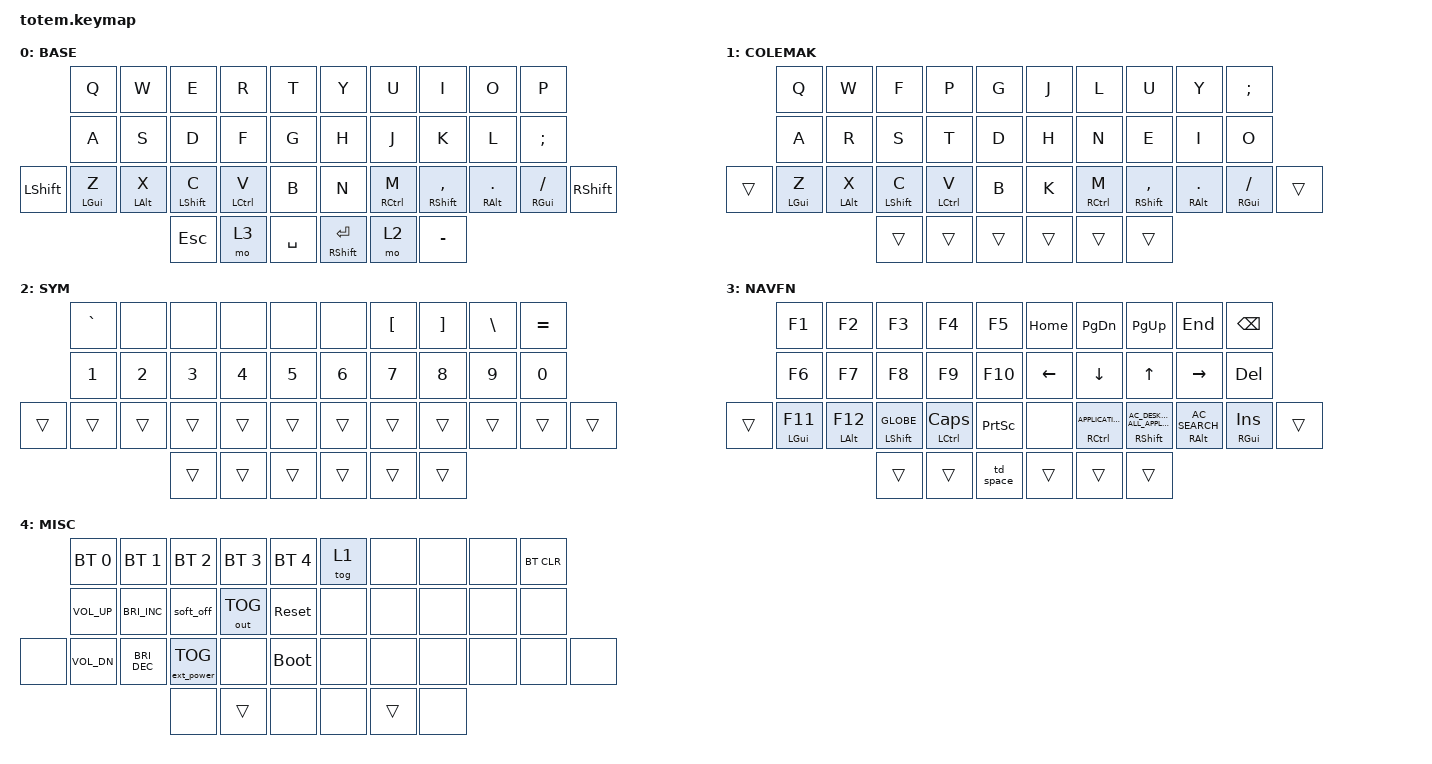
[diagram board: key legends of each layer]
//                                                        ▀▀▀▀▀     ▀▀▀▀▀          ▀▀█▀▀
//                                                        ▄▀▀▀▄  ▄  ▄▀▀▀▄  ▄  ▄▀▀▀▄  █  ▄▀▀▀▄
//                                                        █   █  █  █   █  █  █   █  █  █   █
//                                                         ▀▀▀   █   ▀▀▀   █   ▀▀▀   ▀   ▀▀▀
//                                                               █      ▄▄▄█▄▄▄    █   █
//                                                               ▀      █  █  █     █▄█
//                                                             ▀▀▀▀▀    █  █  █      ▀
//                                                                      ▀  ▀  ▀
//
// ▄▄▄▄▄▄▄▄▄▄▄▄▄▄▄▄▄▄▄▄▄▄▄▄▄▄▄▄▄▄▄▄▄▄▄▄▄▄▄▄▄▄▄▄▄▄▄▄▄▄▄▄▄▄▄▄▄▄▄▄▄▄▄▄▄▄▄▄▄▄▄▄▄▄▄▄▄▄▄▄▄▄▄▄▄▄▄▄▄▄▄▄▄▄▄▄▄▄▄▄▄▄▄▄▄▄▄▄▄▄▄▄▄▄▄▄▄▄▄▄▄▄▄▄▄▄▄▄▄▄▄▄▄▄▄▄▄▄▄▄▄▄▄▄▄▄▄▄▄

#include <behaviors.dtsi>
#include <dt-bindings/zmk/bt.h>
#include <dt-bindings/zmk/ext_power.h>
#include <dt-bindings/zmk/keys.h>
#include <dt-bindings/zmk/outputs.h>

#define BASE 0
#define NAV  1
#define SYM  2
#define ADJ  3
#define TVP1 4
#define TVP2 5

// ============================================
// Home Row Mods - Cross-hand positional hold-tap
// ============================================

#define KEYS_L 0 1 2 3 4 10 11 12 13 14 20 21 22 23 24 25  // Left-hand keys
#define KEYS_R 5 6 7 8 9 15 16 17 18 19 26 27 28 29 30 31  // Right-hand keys
#define THUMBS 32 33 34 35 36 37                            // Thumb keys

&mt {
    flavor = "balanced";
    tapping-term-ms = <200>;
};

/ {
    behaviors {
        hml: home_row_mod_left {
            compatible = "zmk,behavior-hold-tap";
            #binding-cells = <2>;
            flavor = "balanced";
            tapping-term-ms = <200>;
            quick-tap-ms = <175>;
            require-prior-idle-ms = <150>;
            bindings = <&kp>, <&kp>;

            hold-trigger-key-positions = <KEYS_R THUMBS>;
            hold-trigger-on-release;
        };

        hmr: home_row_mod_right {
            compatible = "zmk,behavior-hold-tap";
            #binding-cells = <2>;
            flavor = "balanced";
            tapping-term-ms = <200>;
            quick-tap-ms = <175>;
            require-prior-idle-ms = <150>;
            bindings = <&kp>, <&kp>;

            hold-trigger-key-positions = <KEYS_L THUMBS>;
            hold-trigger-on-release;
        };
    };

    combos {
        compatible = "zmk,combos";

        tab {
            timeout-ms = <30>;
            key-positions = <0 1>;
            bindings = <&mt LA(LC(LGUI)) TAB>;
            layers = <0 1 2 3>;
        };

        backspace {
            bindings = <&kp BACKSPACE>;
            key-positions = <8 9>;
            timeout-ms = <30>;
            layers = <0 1>;
        };

        quote {
            bindings = <&kp SINGLE_QUOTE>;
            key-positions = <18 19>;
            timeout-ms = <30>;
            layers = <0 1>;
        };

        esc {
            bindings = <&kp ESCAPE>;
            key-positions = <10 11>;
            timeout-ms = <30>;
            layers = <0 1>;
        };
    };

    behaviors {
        td_space: td_space {
            compatible = "zmk,behavior-tap-dance";
            label = "TD_SPACE";
            #binding-cells = <0>;
            bindings = <&mt LGUI SPACE>, <&kp SPACE>;

            tapping-term-ms = <100>;
        };
    };

    keymap {
        compatible = "zmk,keymap";

        // ▄▄▄▄▄▄▄▄▄▄▄▄▄▄▄▄▄▄▄▄▄▄▄▄▄▄▄▄▄▄▄▄▄▄▄▄▄▄▄▄▄▄▄▄▄▄▄▄▄▄▄▄▄▄▄▄▄▄▄▄▄▄▄▄▄▄▄▄▄▄▄▄▄▄▄▄▄▄▄▄▄▄▄▄▄▄▄▄▄▄▄▄▄▄▄▄▄▄▄▄▄▄▄▄▄▄▄▄▄▄▄▄▄▄▄▄▄▄▄▄▄▄▄▄▄▄▄▄▄▄▄▄▄▄▄▄▄▄▄▄▄▄▄▄▄▄▄▄▄

        base_layer {
            // ┏━━━━━━━━━━━━━━━━━━━━━━━━━━━━━━━━━━━━━━━┓

            label = "BASE";

            // ┗━━━━━━━━━━━━━━━━━━━━━━━━━━━━━━━━━━━━━━━┛
            //             ┏━━━━━━━━━━━┳━━━━━━━━━━━┳━━━━━━━━━━━┳━━━━━━━━━━━┳━━━━━━━━━━━┓   ┏━━━━━━━━━━━┳━━━━━━━━━━━┳━━━━━━━━━━━┳━━━━━━━━━━━┳━━━━━━━━━━━┓
            //             ┃     Q     ┃     W     ┃     E     ┃     R     ┃     T     ┃   ┃     Y     ┃     U     ┃     I     ┃     O     ┃     P     ┃
            //             ┣━━━━━━━━━━━╋━━━━━━━━━━━╋━━━━━━━━━━━╋━━━━━━━━━━━╋━━━━━━━━━━━┫   ┣━━━━━━━━━━━╋━━━━━━━━━━━╋━━━━━━━━━━━╋━━━━━━━━━━━╋━━━━━━━━━━━┫
            //             ┃     A     ┃     S     ┃     D     ┃     F     ┃     G     ┃   ┃     H     ┃     J     ┃     K     ┃     L     ┃     ;     ┃
            // ┏━━━━━━━━━━━╋━━━━━━━━━━━╋━━━━━━━━━━━╋━━━━━━━━━━━╋━━━━━━━━━━━╋━━━━━━━━━━━┫   ┣━━━━━━━━━━━╋━━━━━━━━━━━╋━━━━━━━━━━━╋━━━━━━━━━━━╋━━━━━━━━━━━╋━━━━━━━━━━━┓
            // ┃    SFT    ┃   Z/GUI   ┃   X/ALT   ┃   C/SFT   ┃   V/CTL   ┃     B     ┃   ┃     N     ┃   M/CTL   ┃   ,/SFT   ┃   ./ALT   ┃  SLH/GUI  ┃   =/SFT   ┃
            // ┗━━━━━━━━━━━┻━━━━━━━━━━━┻━━━━━━━━━━━╋━━━━━━━━━━━╋━━━━━━━━━━━╋━━━━━━━━━━━┫   ┣━━━━━━━━━━━╋━━━━━━━━━━━╋━━━━━━━━━━━╋━━━━━━━━━━━┻━━━━━━━━━━━┻━━━━━━━━━━━┛
            //                                     ┃    ESC    ┃   MO(3)   ┃   SPACE   ┃   ┃ ENTER/SFT ┃   MO(2)   ┃     -     ┃
            //                                     ┗━━━━━━━━━━━┻━━━━━━━━━━━┻━━━━━━━━━━━┛   ┗━━━━━━━━━━━┻━━━━━━━━━━━┻━━━━━━━━━━━┛

            bindings = <
                &kp Q        &kp W        &kp E          &kp R         &kp T        &kp Y             &kp U         &kp I              &kp O          &kp P
                &kp A        &kp S        &kp D          &kp F         &kp G        &kp H             &kp J         &kp K              &kp L          &kp SEMICOLON
&kp LEFT_SHIFT  &hml LGUI Z  &hml LALT X  &hml LSHIFT C  &hml LCTRL V  &kp B        &kp N             &hmr RCTRL M  &hmr RSHIFT COMMA  &hmr RALT DOT  &hmr RGUI SLASH  &kp RSHIFT
                                          &kp ESCAPE     &mo 3         &kp SPACE    &mt RSHIFT ENTER  &mo 2         &kp MINUS
            >;
        };

        // ▄▄▄▄▄▄▄▄▄▄▄▄▄▄▄▄▄▄▄▄▄▄▄▄▄▄▄▄▄▄▄▄▄▄▄▄▄▄▄▄▄▄▄▄▄▄▄▄▄▄▄▄▄▄▄▄▄▄▄▄▄▄▄▄▄▄▄▄▄▄▄▄▄▄▄▄▄▄▄▄▄▄▄▄▄▄▄▄▄▄▄▄▄▄▄▄▄▄▄▄▄▄▄▄▄▄▄▄▄▄▄▄▄▄▄▄▄▄▄▄▄▄▄▄▄▄▄▄▄▄▄▄▄▄▄▄▄▄▄▄▄▄▄▄▄▄▄▄▄

        Colemak {
            // ┏━━━━━━━━━━━━━━━━━━━━━━━━━━━━━━━━━━━━━━━┓

            label = "COLEMAK";

            // ┗━━━━━━━━━━━━━━━━━━━━━━━━━━━━━━━━━━━━━━━┛
            //             ┏━━━━━━━━━━━┳━━━━━━━━━━━┳━━━━━━━━━━━┳━━━━━━━━━━━┳━━━━━━━━━━━┓   ┏━━━━━━━━━━━┳━━━━━━━━━━━┳━━━━━━━━━━━┳━━━━━━━━━━━┳━━━━━━━━━━━┓
            //             ┃     Q     ┃     W     ┃     F     ┃     P     ┃     G     ┃   ┃     J     ┃     L     ┃     U     ┃     Y     ┃     ;     ┃
            //             ┣━━━━━━━━━━━╋━━━━━━━━━━━╋━━━━━━━━━━━╋━━━━━━━━━━━╋━━━━━━━━━━━┫   ┣━━━━━━━━━━━╋━━━━━━━━━━━╋━━━━━━━━━━━╋━━━━━━━━━━━╋━━━━━━━━━━━┫
            //             ┃     A     ┃     R     ┃     S     ┃     T     ┃     D     ┃   ┃     H     ┃     N     ┃     E     ┃     I     ┃     O     ┃
            // ┏━━━━━━━━━━━╋━━━━━━━━━━━╋━━━━━━━━━━━╋━━━━━━━━━━━╋━━━━━━━━━━━╋━━━━━━━━━━━┫   ┣━━━━━━━━━━━╋━━━━━━━━━━━╋━━━━━━━━━━━╋━━━━━━━━━━━╋━━━━━━━━━━━╋━━━━━━━━━━━┓
            // ┃           ┃   Z/GUI   ┃   X/ALT   ┃   C/SFT   ┃   V/CTL   ┃     B     ┃   ┃     K     ┃   M/CTL   ┃   ,/SFT   ┃   ./ALT   ┃  SLH/GUI  ┃           ┃
            // ┗━━━━━━━━━━━┻━━━━━━━━━━━┻━━━━━━━━━━━╋━━━━━━━━━━━╋━━━━━━━━━━━╋━━━━━━━━━━━┫   ┣━━━━━━━━━━━╋━━━━━━━━━━━╋━━━━━━━━━━━╋━━━━━━━━━━━┻━━━━━━━━━━━┻━━━━━━━━━━━┛
            //                                     ┃           ┃           ┃           ┃   ┃           ┃           ┃           ┃
            //                                     ┗━━━━━━━━━━━┻━━━━━━━━━━━┻━━━━━━━━━━━┛   ┗━━━━━━━━━━━┻━━━━━━━━━━━┻━━━━━━━━━━━┛

            bindings = <
        &kp Q        &kp W        &kp F          &kp P         &kp G     &kp J   &kp L         &kp U              &kp Y             &kp SEMICOLON
        &kp A        &kp R        &kp S          &kp T         &kp D     &kp H   &kp N         &kp E              &kp I             &kp O
&trans  &hml LGUI Z  &hml LALT X  &hml LSHIFT C  &hml LCTRL V  &kp B     &kp K   &hmr RCTRL M  &hmr RSHIFT COMMA  &hmr RALT PERIOD  &hmr RGUI SLASH  &trans
                                  &trans         &trans        &trans    &trans  &trans        &trans
            >;
        };

        // ▄▄▄▄▄▄▄▄▄▄▄▄▄▄▄▄▄▄▄▄▄▄▄▄▄▄▄▄▄▄▄▄▄▄▄▄▄▄▄▄▄▄▄▄▄▄▄▄▄▄▄▄▄▄▄▄▄▄▄▄▄▄▄▄▄▄▄▄▄▄▄▄▄▄▄▄▄▄▄▄▄▄▄▄▄▄▄▄▄▄▄▄▄▄▄▄▄▄▄▄▄▄▄▄▄▄▄▄▄▄▄▄▄▄▄▄▄▄▄▄▄▄▄▄▄▄▄▄▄▄▄▄▄▄▄▄▄▄▄▄▄▄▄▄▄▄▄▄▄

        sym_layer {
            // ┏━━━━━━━━━━━━━━━━━━━━━━━━━━━━━━━━━━━━━━━┓

            label = "SYM";

            // ┗━━━━━━━━━━━━━━━━━━━━━━━━━━━━━━━━━━━━━━━┛
            //             ┏━━━━━━━━━━━┳━━━━━━━━━━━┳━━━━━━━━━━━┳━━━━━━━━━━━┳━━━━━━━━━━━┓   ┏━━━━━━━━━━━┳━━━━━━━━━━━┳━━━━━━━━━━━┳━━━━━━━━━━━┳━━━━━━━━━━━┓
            //             ┃     !     ┃     @     ┃     #     ┃     $     ┃     %     ┃   ┃     ^     ┃     &     ┃     *     ┃     (     ┃     )     ┃
            //             ┣━━━━━━━━━━━╋━━━━━━━━━━━╋━━━━━━━━━━━╋━━━━━━━━━━━╋━━━━━━━━━━━┫   ┣━━━━━━━━━━━╋━━━━━━━━━━━╋━━━━━━━━━━━╋━━━━━━━━━━━╋━━━━━━━━━━━┫
            //             ┃     1     ┃     2     ┃     3     ┃     4     ┃     5     ┃   ┃     6     ┃     7     ┃     8     ┃     9     ┃     0     ┃
            // ┏━━━━━━━━━━━╋━━━━━━━━━━━╋━━━━━━━━━━━╋━━━━━━━━━━━╋━━━━━━━━━━━╋━━━━━━━━━━━┫   ┣━━━━━━━━━━━╋━━━━━━━━━━━╋━━━━━━━━━━━╋━━━━━━━━━━━╋━━━━━━━━━━━╋━━━━━━━━━━━┓
            // ┃           ┃   {/GUI   ┃   }/ALT   ┃   [/SFT   ┃   ]/CTL   ┃           ┃   ┃     "     ┃   '/CTL   ┃           ┃           ┃BACKSLH/GUI┃     `     ┃
            // ┗━━━━━━━━━━━┻━━━━━━━━━━━┻━━━━━━━━━━━╋━━━━━━━━━━━╋━━━━━━━━━━━╋━━━━━━━━━━━┫   ┣━━━━━━━━━━━╋━━━━━━━━━━━╋━━━━━━━━━━━╋━━━━━━━━━━━┻━━━━━━━━━━━┻━━━━━━━━━━━┛
            //                                     ┃    TAB    ┃           ┃           ┃   ┃           ┃           ┃           ┃
            //                                     ┗━━━━━━━━━━━┻━━━━━━━━━━━┻━━━━━━━━━━━┛   ┗━━━━━━━━━━━┻━━━━━━━━━━━┻━━━━━━━━━━━┛

            bindings = <
        &kp GRAVE     &none         &none         &none         &none     &none         &kp LEFT_BRACKET  &kp RIGHT_BRACKET  &kp BACKSLASH  &kp EQUAL
        &kp NUMBER_1  &kp NUMBER_2  &kp NUMBER_3  &kp NUMBER_4  &kp N5    &kp NUMBER_6  &kp N7            &kp N8             &kp N9         &kp N0
&trans  &trans        &trans        &trans        &trans        &trans    &trans        &trans            &trans             &trans         &trans     &trans
                                    &trans        &trans        &trans    &trans        &trans            &trans
            >;
        };

        // ▄▄▄▄▄▄▄▄▄▄▄▄▄▄▄▄▄▄▄▄▄▄▄▄▄▄▄▄▄▄▄▄▄▄▄▄▄▄▄▄▄▄▄▄▄▄▄▄▄▄▄▄▄▄▄▄▄▄▄▄▄▄▄▄▄▄▄▄▄▄▄▄▄▄▄▄▄▄▄▄▄▄▄▄▄▄▄▄▄▄▄▄▄▄▄▄▄▄▄▄▄▄▄▄▄▄▄▄▄▄▄▄▄▄▄▄▄▄▄▄▄▄▄▄▄▄▄▄▄▄▄▄▄▄▄▄▄▄▄▄▄▄▄▄▄▄▄▄▄

        navi_fn {
            // ┏━━━━━━━━━━━━━━━━━━━━━━━━━━━━━━━━━━━━━━━┓

            label = "NAVFN";

            // ┗━━━━━━━━━━━━━━━━━━━━━━━━━━━━━━━━━━━━━━━┛
            //             ┏━━━━━━━━━━━┳━━━━━━━━━━━┳━━━━━━━━━━━┳━━━━━━━━━━━┳━━━━━━━━━━━┓   ┏━━━━━━━━━━━┳━━━━━━━━━━━┳━━━━━━━━━━━┳━━━━━━━━━━━┳━━━━━━━━━━━┓
            //             ┃    F1     ┃    F2     ┃    F3     ┃    F4     ┃    F5     ┃   ┃   HOME    ┃  PAGE DN  ┃  PAGE UP  ┃    END    ┃   BSPC    ┃
            //             ┣━━━━━━━━━━━╋━━━━━━━━━━━╋━━━━━━━━━━━╋━━━━━━━━━━━╋━━━━━━━━━━━┫   ┣━━━━━━━━━━━╋━━━━━━━━━━━╋━━━━━━━━━━━╋━━━━━━━━━━━╋━━━━━━━━━━━┫
            //             ┃    F6     ┃    F7     ┃    F8     ┃    F9     ┃    F10    ┃   ┃   LEFT    ┃   DOWN    ┃    UP     ┃   RIGHT   ┃    DEL    ┃
            // ┏━━━━━━━━━━━╋━━━━━━━━━━━╋━━━━━━━━━━━╋━━━━━━━━━━━╋━━━━━━━━━━━╋━━━━━━━━━━━┫   ┣━━━━━━━━━━━╋━━━━━━━━━━━╋━━━━━━━━━━━╋━━━━━━━━━━━╋━━━━━━━━━━━╋━━━━━━━━━━━┓
            // ┃           ┃  F11/GUI  ┃  F12/ALT  ┃ GLOBE/SFT ┃ CAPS/CTL  ┃   PRTSC   ┃   ┃  TOG CLK  ┃ K_APP/CTL ┃SHOWALL/SFT┃ SEARCH/ALT┃  INS/GUI  ┃           ┃
            // ┗━━━━━━━━━━━┻━━━━━━━━━━━┻━━━━━━━━━━━╋━━━━━━━━━━━╋━━━━━━━━━━━╋━━━━━━━━━━━┫   ┣━━━━━━━━━━━╋━━━━━━━━━━━╋━━━━━━━━━━━╋━━━━━━━━━━━┻━━━━━━━━━━━┻━━━━━━━━━━━┛
            //                                     ┃           ┃           ┃ SPC/LGUI  ┃   ┃           ┃           ┃           ┃
            //                                     ┗━━━━━━━━━━━┻━━━━━━━━━━━┻━━━━━━━━━━━┛   ┗━━━━━━━━━━━┻━━━━━━━━━━━┻━━━━━━━━━━━┛

            bindings = <
        &kp F1         &kp F2         &kp F3             &kp F4               &kp F5             &kp HOME  &kp PAGE_DOWN             &kp PAGE_UP                                     &kp END                &kp BACKSPACE
        &kp F6         &kp F7         &kp F8             &kp F9               &kp F10            &kp LEFT  &kp DOWN                  &kp UP_ARROW                                    &kp RIGHT              &kp DELETE
&trans  &hml LGUI F11  &hml LALT F12  &hml LSHIFT GLOBE  &hml LCTRL CAPSLOCK  &kp PRINTSCREEN    &none     &hmr RCTRL K_APPLICATION  &hmr RSHIFT C_AC_DESKTOP_SHOW_ALL_APPLICATIONS  &hmr RALT C_AC_SEARCH  &hmr RGUI INS  &trans
                                      &trans             &trans               &td_space          &trans    &trans                    &trans
            >;
        };

        // ▄▄▄▄▄▄▄▄▄▄▄▄▄▄▄▄▄▄▄▄▄▄▄▄▄▄▄▄▄▄▄▄▄▄▄▄▄▄▄▄▄▄▄▄▄▄▄▄▄▄▄▄▄▄▄▄▄▄▄▄▄▄▄▄▄▄▄▄▄▄▄▄▄▄▄▄▄▄▄▄▄▄▄▄▄▄▄▄▄▄▄▄▄▄▄▄▄▄▄▄▄▄▄▄▄▄▄▄▄▄▄▄▄▄▄▄▄▄▄▄▄▄▄▄▄▄▄▄▄▄▄▄▄▄▄▄▄▄▄▄▄▄▄▄▄▄▄▄▄

        misc {
            // ┏━━━━━━━━━━━━━━━━━━━━━━━━━━━━━━━━━━━━━━━┓

            label = "MISC";

            // ┗━━━━━━━━━━━━━━━━━━━━━━━━━━━━━━━━━━━━━━━┛
            //             ┏━━━━━━━━━━━┳━━━━━━━━━━━┳━━━━━━━━━━━┳━━━━━━━━━━━┳━━━━━━━━━━━┓   ┏━━━━━━━━━━━┳━━━━━━━━━━━┳━━━━━━━━━━━┳━━━━━━━━━━━┳━━━━━━━━━━━┓
            //             ┃   BT 0    ┃   BT 1    ┃   BT 2    ┃   BT 3    ┃   BT 4    ┃   ┃  TOG 1    ┃           ┃           ┃           ┃   BT CLR  ┃
            //             ┣━━━━━━━━━━━╋━━━━━━━━━━━╋━━━━━━━━━━━╋━━━━━━━━━━━╋━━━━━━━━━━━┫   ┣━━━━━━━━━━━╋━━━━━━━━━━━╋━━━━━━━━━━━╋━━━━━━━━━━━╋━━━━━━━━━━━┫
            //             ┃   VOL+    ┃  BRIGHT+  ┃ SOFT OFF  ┃  OUT TOG  ┃   RESET   ┃   ┃           ┃           ┃           ┃           ┃           ┃
            // ┏━━━━━━━━━━━╋━━━━━━━━━━━╋━━━━━━━━━━━╋━━━━━━━━━━━╋━━━━━━━━━━━╋━━━━━━━━━━━┫   ┣━━━━━━━━━━━╋━━━━━━━━━━━╋━━━━━━━━━━━╋━━━━━━━━━━━╋━━━━━━━━━━━╋━━━━━━━━━━━┓
            // ┃           ┃   VOL-    ┃  BRIGHT-  ┃  EXT PWR  ┃           ┃  BOOTLDR  ┃   ┃           ┃           ┃           ┃           ┃           ┃           ┃
            // ┗━━━━━━━━━━━┻━━━━━━━━━━━┻━━━━━━━━━━━╋━━━━━━━━━━━╋━━━━━━━━━━━╋━━━━━━━━━━━┫   ┣━━━━━━━━━━━╋━━━━━━━━━━━╋━━━━━━━━━━━╋━━━━━━━━━━━┻━━━━━━━━━━━┻━━━━━━━━━━━┛
            //                                     ┃           ┃           ┃           ┃   ┃           ┃           ┃           ┃
            //                                     ┗━━━━━━━━━━━┻━━━━━━━━━━━┻━━━━━━━━━━━┛   ┗━━━━━━━━━━━┻━━━━━━━━━━━┻━━━━━━━━━━━┛

            bindings = <
       &bt BT_SEL 0     &bt BT_SEL 1          &bt BT_SEL 2       &bt BT_SEL 3  &bt BT_SEL 4    &tog 1  &none   &none  &none  &bt BT_CLR
       &kp C_VOLUME_UP  &kp C_BRIGHTNESS_INC  &soft_off          &out OUT_TOG  &sys_reset      &none   &none   &none  &none  &none
&none  &kp C_VOL_DN     &kp C_BRIGHTNESS_DEC  &ext_power EP_TOG  &none         &bootloader     &none   &none   &none  &none  &none       &none
                                              &none              &trans        &none           &none   &trans  &none
            >;
        };

        // ▄▄▄▄▄▄▄▄▄▄▄▄▄▄▄▄▄▄▄▄▄▄▄▄▄▄▄▄▄▄▄▄▄▄▄▄▄▄▄▄▄▄▄▄▄▄▄▄▄▄▄▄▄▄▄▄▄▄▄▄▄▄▄▄▄▄▄▄▄▄▄▄▄▄▄▄▄▄▄▄▄▄▄▄▄▄▄▄▄▄▄▄▄▄▄▄▄▄▄▄▄▄▄▄▄▄▄▄▄▄▄▄▄▄▄▄▄▄▄▄▄▄▄▄▄▄▄▄▄▄▄▄▄▄▄▄▄▄▄▄▄▄▄▄▄▄▄▄▄
    };

    conditional_layers {
        compatible = "zmk,conditional-layers";

        misc {
            if-layers = <2 3>;
            then-layer = <4>;
        };
    };
};
